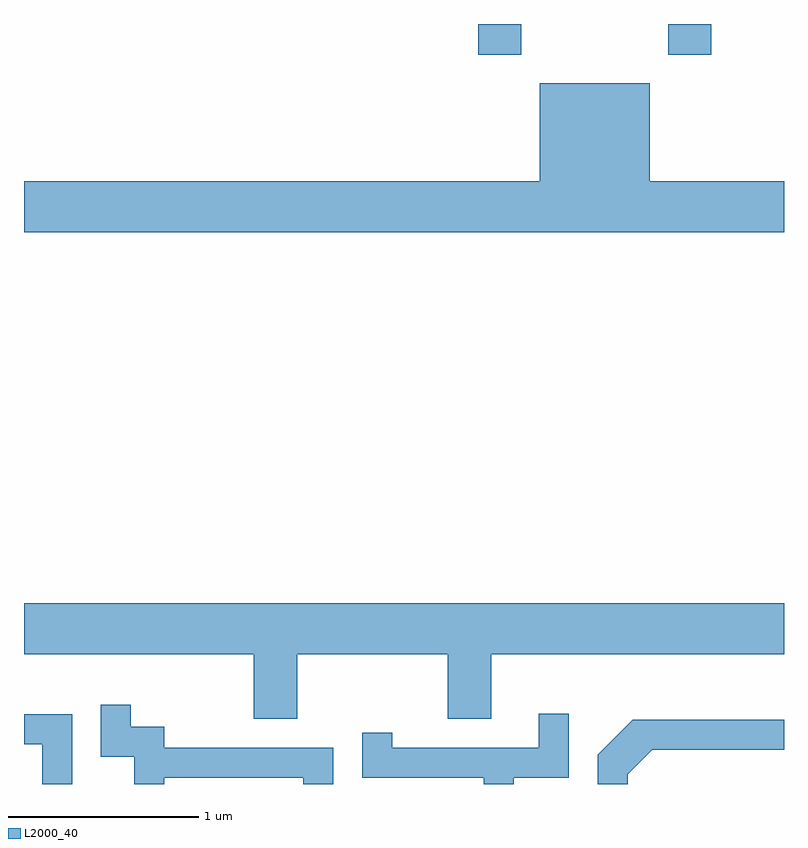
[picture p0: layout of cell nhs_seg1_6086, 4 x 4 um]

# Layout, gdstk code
import gdstk
lib = gdstk.Library(unit=1e-6, precision=1e-09)
def R(c, l, rs):  # rectangles x0, y0, x1, y1
    for r in rs: c.add(gdstk.rectangle(r[:2], r[2:], *l))
def P(c, l, *ps):  # polygons
    for p in ps: c.add(gdstk.Polygon(p, *l))
L2000_40 = (2000, 40)

nhs_seg1_6086 = lib.new_cell('nhs_seg1_6086')
R(nhs_seg1_6086, L2000_40, [(370.001,971.551,370.229,971.712), (371.001,971.551,371.229,971.712)])
P(nhs_seg1_6086, L2000_40, [(371.611,970.884),(370.904,970.884),(370.904,971.399),(370.326,971.399),(370.326,970.884),(367.611,970.884),(367.611,970.616),(371.611,970.616)],
  [(369.049,968.396),(369.841,968.396),(369.841,968.056),(370.069,968.056),(370.069,968.396),(371.611,968.396),(371.611,968.664),(367.611,968.664),(367.611,968.396),(368.821,968.396),(368.821,968.056),(369.049,968.056)],
  [(368.349,967.746),(369.081,967.746),(369.081,967.712),(369.239,967.712),(369.239,967.904),(368.349,967.904),(368.349,968.014),(368.174,968.014),(368.174,968.128),(368.016,968.128),(368.016,967.856),(368.191,967.856),(368.191,967.712),(368.349,967.712)],
  [(370.189,967.746),(370.479,967.746),(370.479,968.083),(370.321,968.083),(370.321,967.904),(369.549,967.904),(369.549,967.983),(369.391,967.983),(369.391,967.746),(370.031,967.746),(370.031,967.712),(370.189,967.712)],
  [(367.864,968.079),(367.611,968.079),(367.611,967.921),(367.706,967.921),(367.706,967.712),(367.864,967.712)],
  [(370.789,967.764),(370.917,967.891),(371.611,967.891),(371.611,968.049),(370.814,968.049),(370.631,967.867),(370.631,967.712),(370.789,967.712)])

lib.write_gds('nhs_seg1_6086.gds')
